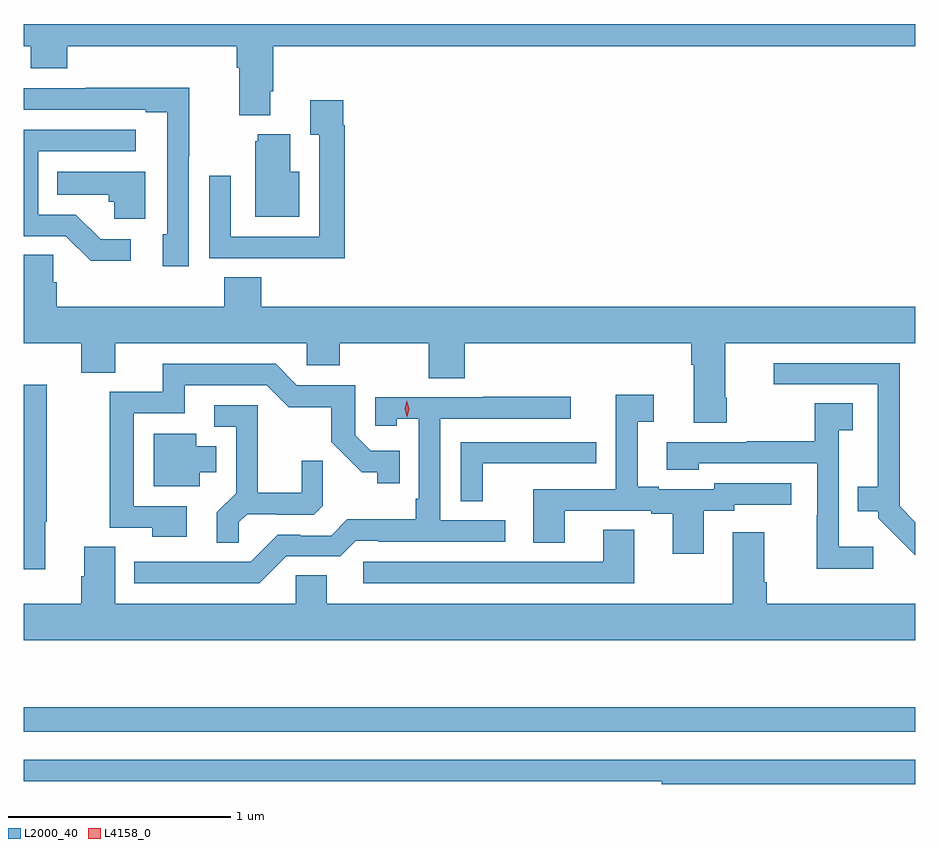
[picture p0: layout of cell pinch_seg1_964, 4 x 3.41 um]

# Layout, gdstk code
import gdstk
lib = gdstk.Library(unit=1e-6, precision=1e-09)
def R(c, l, rs):  # rectangles x0, y0, x1, y1
    for r in rs: c.add(gdstk.rectangle(r[:2], r[2:], *l))
def P(c, l, *ps):  # polygons
    for p in ps: c.add(gdstk.Polygon(p, *l))
L2000_40 = (2000, 40)
L4158_0 = (4158, 0)

pinch_seg1_964 = lib.new_cell('pinch_seg1_964')
R(pinch_seg1_964, L2000_40, [(313.03,580.626,317.03,580.735)])
P(pinch_seg1_964, L2000_40, [(314.137,583.498),(314.15,583.498),(314.15,583.7),(317.03,583.7),(317.03,583.8),(313.03,583.8),(313.03,583.7),(313.061,583.7),(313.061,583.601),(313.226,583.601),(313.226,583.7),(313.985,583.7),(313.985,583.604),(313.997,583.604),(313.997,583.391),(314.137,583.391)],
  [(313.77,583.207),(313.773,583.207),(313.773,583.514),(313.309,583.514),(313.309,583.512),(313.03,583.512),(313.03,583.416),(313.577,583.416),(313.577,583.404),(313.674,583.404),(313.674,582.858),(313.655,582.858),(313.655,582.714),(313.77,582.714)],
  [(314.471,583.346),(314.464,583.346),(314.464,583.459),(314.315,583.459),(314.315,583.303),(314.355,583.303),(314.355,582.846),(313.959,582.846),(313.959,583.12),(313.863,583.12),(313.863,582.75),(314.179,582.75),(314.179,582.749),(314.471,582.749)],
  [(313.51,582.834),(313.375,582.834),(313.264,582.945),(313.095,582.945),(313.095,583.23),(313.534,583.23),(313.534,583.326),(313.03,583.326),(313.03,582.849),(313.218,582.849),(313.331,582.737),(313.51,582.737)],
  [(314.266,583.138),(314.227,583.138),(314.227,583.306),(314.081,583.306),(314.081,583.275),(314.069,583.275),(314.069,582.935),(314.266,582.935)],
  [(313.576,583.138),(313.18,583.138),(313.18,583.034),(313.411,583.034),(313.411,583.002),(313.437,583.002),(313.437,582.926),(313.576,582.926)],
  [(316.185,582.124),(316.177,582.124),(316.177,582.368),(317.03,582.368),(317.03,582.532),(314.096,582.532),(314.096,582.665),(313.931,582.665),(313.931,582.532),(313.178,582.532),(313.178,582.641),(313.164,582.641),(313.164,582.764),(313.03,582.764),(313.03,582.368),(313.289,582.368),(313.289,582.235),(313.441,582.235),(313.441,582.368),(314.301,582.368),(314.301,582.27),(314.448,582.27),(314.448,582.368),(314.848,582.368),(314.848,582.211),(315.008,582.211),(315.008,582.368),(316.025,582.368),(316.025,582.272),(316.037,582.272),(316.037,582.012),(316.185,582.012)],
  [(317.03,581.566),(316.959,581.637),(316.959,582.279),(316.395,582.279),(316.395,582.183),(316.862,582.183),(316.862,581.725),(316.771,581.725),(316.771,581.615),(316.863,581.615),(316.863,581.583),(317.03,581.416)],
  [(313.762,581.637),(313.524,581.637),(313.524,582.054),(313.753,582.054),(313.753,582.18),(314.121,582.18),(314.22,582.082),(314.409,582.082),(314.409,581.926),(314.546,581.789),(314.616,581.789),(314.616,581.739),(314.717,581.739),(314.717,581.886),(314.586,581.886),(314.517,581.955),(314.517,582.18),(314.256,582.18),(314.16,582.276),(313.655,582.276),(313.655,582.15),(313.416,582.15),(313.416,581.541),(313.606,581.541),(313.606,581.501),(313.762,581.501)],
  [(313.126,581.567),(313.134,581.567),(313.134,582.181),(313.03,582.181),(313.03,581.355),(313.126,581.355)],
  [(316.081,581.616),(316.218,581.616),(316.218,581.643),(316.474,581.643),(316.474,581.739),(316.128,581.739),(316.128,581.712),(315.88,581.712),(315.88,581.725),(315.784,581.725),(315.784,582.016),(315.856,582.016),(315.856,582.136),(315.687,582.136),(315.687,581.712),(315.317,581.712),(315.317,581.473),(315.457,581.473),(315.457,581.616),(315.845,581.616),(315.845,581.604),(315.941,581.604),(315.941,581.424),(316.081,581.424)],
  [(314.208,581.412),(314.451,581.412),(314.52,581.481),(314.62,581.481),(314.62,581.478),(315.19,581.478),(315.19,581.574),(314.898,581.574),(314.898,582.03),(315.484,582.03),(315.484,582.129),(315.091,582.129),(315.091,582.126),(314.607,582.126),(314.607,581.997),(314.703,581.997),(314.703,582.029),(314.802,582.029),(314.802,581.671),(314.79,581.671),(314.79,581.578),(314.482,581.578),(314.409,581.505),(314.27,581.505),(314.27,581.508),(314.169,581.508),(314.049,581.388),(313.526,581.388),(313.526,581.292),(314.088,581.292)],
  [(316.84,581.455),(316.686,581.455),(316.686,581.977),(316.75,581.977),(316.75,582.098),(316.578,582.098),(316.578,581.928),(316.273,581.928),(316.273,581.925),(315.915,581.925),(315.915,581.801),(316.059,581.801),(316.059,581.829),(316.59,581.829),(316.59,581.597),(316.588,581.597),(316.588,581.357),(316.84,581.357)],
  [(313.995,581.564),(314.032,581.601),(314.166,581.601),(314.166,581.598),(314.331,581.598),(314.372,581.639),(314.372,581.841),(314.278,581.841),(314.278,581.698),(314.081,581.698),(314.081,582.09),(313.884,582.09),(313.884,581.994),(313.983,581.994),(313.983,581.695),(313.897,581.609),(313.897,581.473),(313.995,581.473)],
  [(313.819,581.789),(313.894,581.789),(313.894,581.905),(313.804,581.905),(313.804,581.962),(313.613,581.962),(313.613,581.726),(313.819,581.726)],
  [(315.09,581.829),(315.485,581.829),(315.485,581.83),(315.598,581.83),(315.598,581.925),(314.991,581.925),(314.991,581.659),(315.09,581.659)],
  [(315.769,581.531),(315.629,581.531),(315.629,581.388),(314.553,581.388),(314.553,581.292),(315.769,581.292)],
  [(317.03,581.2),(316.364,581.2),(316.364,581.296),(316.351,581.296),(316.351,581.521),(316.211,581.521),(316.211,581.2),(314.389,581.2),(314.389,581.327),(314.25,581.327),(314.25,581.2),(313.441,581.2),(313.441,581.456),(313.301,581.456),(313.301,581.322),(313.289,581.322),(313.289,581.2),(313.03,581.2),(313.03,581.036),(317.03,581.036)],
  [(317.03,580.5),(313.03,580.5),(313.03,580.404),(315.64,580.404),(315.64,580.403),(315.892,580.403),(315.892,580.391),(317.03,580.391)])
P(pinch_seg1_964, L4158_0, [(314.75,582.038),(314.749,582.039),(314.739,582.074),(314.748,582.111),(314.748,582.111),(314.748,582.111),(314.759,582.075),(314.75,582.039)])

lib.write_gds('pinch_seg1_964.gds')
